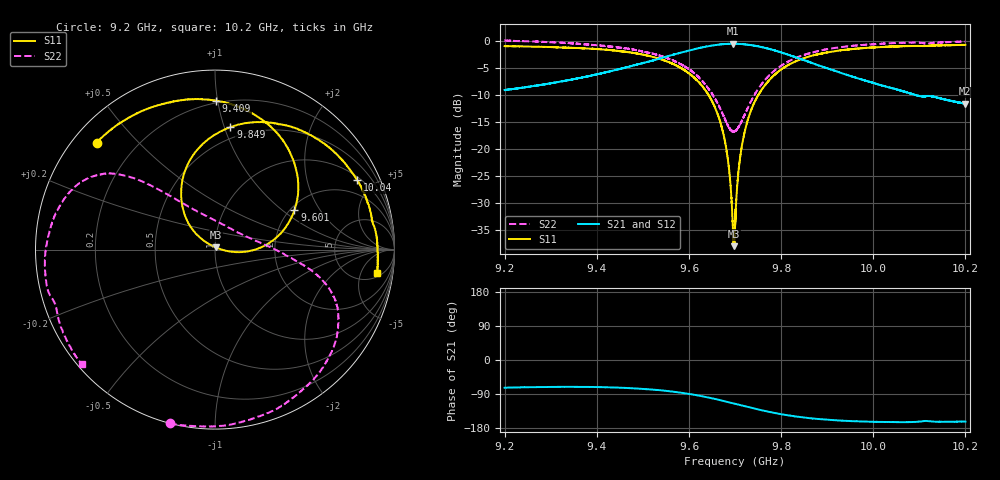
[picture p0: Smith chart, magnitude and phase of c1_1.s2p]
!Agilent Technologies,N5242A,MY51221714,A.09.90.19
!Agilent N5242A: A.09.90.19
!Date: Tuesday, March 26, 2024 16:59:11
!Correction: S11(Full 2 Port(1,2))
!S21(Full 2 Port(1,2))
!S12(Full 2 Port(1,2))
!S22(Full 2 Port(1,2))
!S2P File: Measurements: S11, S21, S12, S22:
# Hz S  dB  R 50
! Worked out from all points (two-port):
!   16001 points, 9.2 GHz to 10.2 GHz, reference 50 ohm
!   highest |S21| = -0.58 dB at 9.696 GHz (marker M1); lowest = -11.7 dB at 10.2 GHz (marker M2)
!   |S21| within 3 dB of the highest: 9.526 GHz to 9.848 GHz (322.1 MHz wide, 3.32 % of centre); 9.848352 GHz to 9.848553 GHz (200.9 kHz wide, 0.00204 % of centre)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
!   lowest |S11| = -38.0 dB at 9.698 GHz (marker M3), VSWR 1.03, Z = 50.4 + j1.19 ohm
!   |S11| at or under -10 dB: 9.642008 GHz to 9.642116 GHz (108.5 kHz wide, 0.00113 % of centre); 9.642 GHz to 9.751 GHz (109 MHz wide, 1.12 % of centre)
!   |S22| runs from -16.9 to 0.0 dB; largest |S21 - S12| = 0.012
!   S11 on the Smith chart (normalised r, x): 9.2 GHz: 0.07, +0.38; 9.409 GHz: 0.19, +0.99; 9.601 GHz: 2.09, +1.23; 9.849 GHz: 0.41, +1.05; 10.04 GHz: 1.17, +4.01; 10.2 GHz: 6, -10
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9.2e9  -1.03 137.9  -9.14 -73.2  -9.12 -73.9  0.00 -104.5
9.366688e9  -1.41 100.4  -6.85 -71.0  -6.84 -71.6  -0.66 -60.5
9.409e9  -1.62 89.6  -6.07 -71.6  -6.06 -72.3  -0.91 -49.9
9.533375e9  -3.32 52.3  -3.40 -79.3  -3.39 -79.9  -2.68 -23.3
9.60075e9  -6.11 26.7  -1.82 -89.6  -1.82 -90.2  -5.33 -11.9
9.64125e9  -9.89 8.4  -1.05 -98.8  -1.05 -99.3  -8.76 -2.1
9.668375e9  -15.18 -3.6  -0.72 -106.2  -0.71 -106.7  -12.66 12.0
9.684438e9  -21.86 -7.2  -0.62 -110.9  -0.59 -111.4  -15.69 33.9
9.696062e9  -35.84 29.9  -0.58 -114.5  -0.58 -114.9  -16.82 59.9
9.697875e9  -38.03 69.7  -0.59 -115.0  -0.58 -115.5  -16.79 64.4
9.7e9  -34.49 113.8  -0.59 -115.6  -0.57 -116.2  -16.71 69.6
9.707188e9  -24.47 140.0  -0.61 -117.9  -0.59 -118.3  -16.05 85.8
9.713938e9  -19.95 141.4  -0.65 -119.9  -0.63 -120.4  -15.00 98.3
9.738562e9  -12.13 131.9  -0.89 -127.2  -0.88 -127.9  -10.62 123.0
9.786812e9  -6.26 109.1  -1.84 -139.9  -1.85 -140.6  -5.48 136.0
9.849375e9  -3.26 82.8  -3.61 -151.7  -3.61 -152.3  -2.66 144.8
9.866688e9  -2.80 76.6  -4.12 -154.0  -4.14 -154.6  -2.23 147.4
9.934938e9  -1.74 54.4  -6.13 -160.2  -6.13 -160.8  -1.16 159.2
1.003338e10  -1.13 28.2  -8.65 -163.6  -8.63 -164.3  -0.51 179.9
1.004244e10  -1.11 26.0  -8.84 -163.7  -8.83 -164.4  -0.47 -178.0
1.019975e10  -0.81 -8.1  -11.69 -162.5  -11.68 -163.1  -0.19 -139.3
1.02e10  -0.79 -8.2  -11.67 -162.5  -11.69 -163.1  -0.19 -139.2
